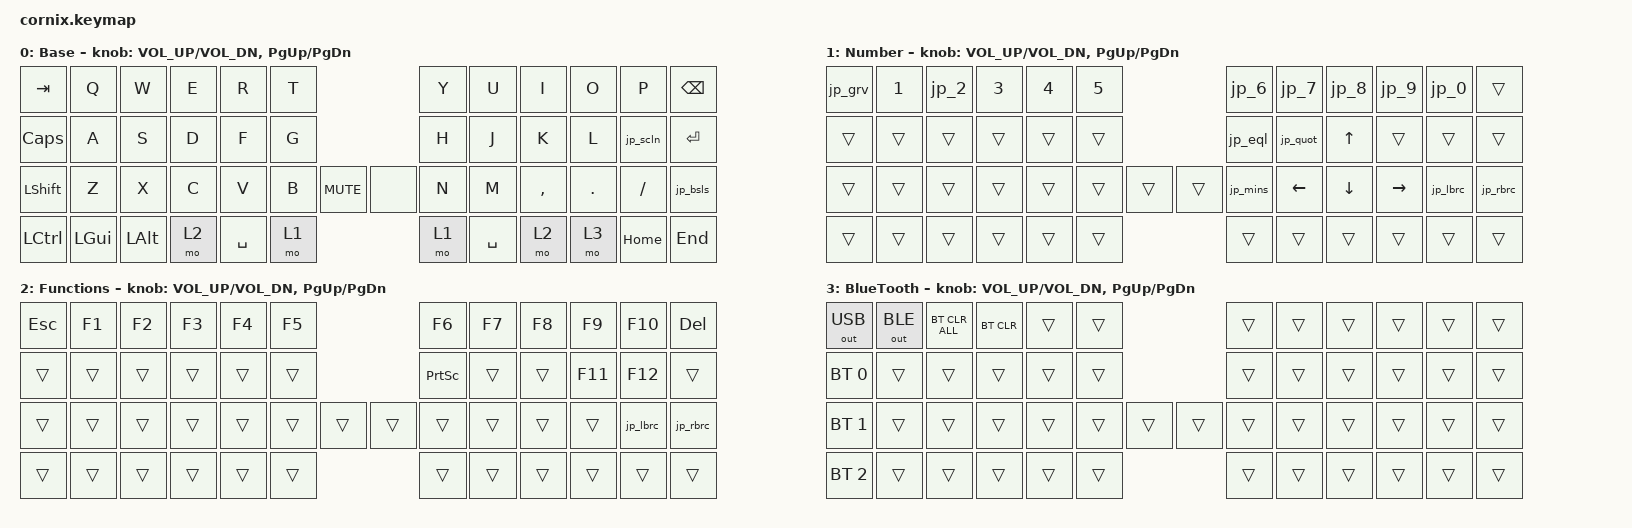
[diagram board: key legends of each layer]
/*
 * Copyright (c) 2020 The ZMK Contributors
 *
 * SPDX-License-Identifier: MIT
 */

#include "zmk-helpers/helper.h"
#include "includes/cornix54.h"
#include <behaviors.dtsi>
#include <dt-bindings/zmk/bt.h>
#include <dt-bindings/zmk/keys.h>
#include <dt-bindings/zmk/outputs.h>

// tap windows for ctl alt and gui

// quick tapping for shift
#define BASE 0
#define NUM 1
#define FUNC 2
#define BT 3

// https://github.com/urob/zmk-config/tree/main#timeless-homerow-mods

#include <behaviors.dtsi>
#include <dt-bindings/zmk/bt.h>
#include <dt-bindings/zmk/ext_power.h>
#include <dt-bindings/zmk/keys.h>
#include <dt-bindings/zmk/pointing.h>

// Add
#include <dt-bindings/zmk/keys.h>
#include <dt-bindings/zmk/modifiers.h>

#define JIS_MODS <(MOD_LSFT|MOD_RSFT)>

/ {
    // Activate ADJUST layer by pressing raise and lower

    behaviors {
        /* ` / ~   : JP_GRV = S(LBKT) , JP_TILD = S(EQUAL) */
        jp_grv: jp_grave_tilde {
            compatible = "zmk,behavior-mod-morph";
            #binding-cells = <0>;
            bindings = <&kp LS(LBKT)>, <&kp LS(EQUAL)>;
            mods = JIS_MODS;
        };

        /* 2 / @   : JP_AT = LBKT */
        jp_2: jp_2_at {
            compatible = "zmk,behavior-mod-morph";
            #binding-cells = <0>;
            bindings = <&kp N2>, <&kp LBKT>;
            mods = JIS_MODS;
        };

        /* 6 / ^   : JP_CIRC = EQUAL */
        jp_6: jp_6_circumflex {
            compatible = "zmk,behavior-mod-morph";
            #binding-cells = <0>;
            bindings = <&kp N6>, <&kp EQUAL>;
            mods = JIS_MODS;
        };

        /* 7 / &   : JP_AMPR = S(N6) */
        jp_7: jp_7_ampersand {
            compatible = "zmk,behavior-mod-morph";
            #binding-cells = <0>;
            bindings = <&kp N7>, <&kp LS(N6)>;
            mods = JIS_MODS;
        };

        /* 8 / *   : JP_ASTR = S(SQT) */
        jp_8: jp_8_asterisk {
            compatible = "zmk,behavior-mod-morph";
            #binding-cells = <0>;
            bindings = <&kp N8>, <&kp LS(SQT)>;
            mods = JIS_MODS;
        };

        /* 9 / (   : JP_LPRN = S(N8) */
        jp_9: jp_9_lparen {
            compatible = "zmk,behavior-mod-morph";
            #binding-cells = <0>;
            bindings = <&kp N9>, <&kp LS(N8)>;
            mods = JIS_MODS;
        };

        /* 0 / )   : JP_RPRN = S(N9) */
        jp_0: jp_0_rparen {
            compatible = "zmk,behavior-mod-morph";
            #binding-cells = <0>;
            bindings = <&kp N0>, <&kp LS(N9)>;
            mods = JIS_MODS;
        };

        /* - / _   : JP_MINS = MINUS , JP_UNDS = S(INT1) */
        jp_mins: jp_minus_underscore {
            compatible = "zmk,behavior-mod-morph";
            #binding-cells = <0>;
            bindings = <&kp MINUS>, <&kp LS(INT1)>;
            mods = JIS_MODS;
        };

        /* = / +   : JP_EQL = S(MINUS) , JP_PLUS = S(SEMI) */
        jp_eql: jp_equal_plus {
            compatible = "zmk,behavior-mod-morph";
            #binding-cells = <0>;
            bindings = <&kp LS(MINUS)>, <&kp LS(SEMI)>;
            mods = JIS_MODS;
        };

        /* [ / {   : JP_LBRC = RBKT , JP_LCBR = S(RBKT) */
        jp_lbrc: jp_lbracket_lbrace {
            compatible = "zmk,behavior-mod-morph";
            #binding-cells = <0>;
            bindings = <&kp RBKT>, <&kp LS(RBKT)>;
            mods = JIS_MODS;
        };

        /* ] / }   : JP_RBRC = NON_US_HASH , JP_RCBR = S(NON_US_HASH) */
        jp_rbrc: jp_rbracket_rbrace {
            compatible = "zmk,behavior-mod-morph";
            #binding-cells = <0>;
            bindings = <&kp NON_US_HASH>, <&kp LS(NON_US_HASH)>;
            mods = JIS_MODS;
        };

        /* \ / |   : JP_BSLS = INT1 (ro) , JP_PIPE = S(INT3) (yen) */
        jp_bsls: jp_backslash_pipe {
            compatible = "zmk,behavior-mod-morph";
            #binding-cells = <0>;
            bindings = <&kp INT1>, <&kp LS(INT3)>;
            mods = JIS_MODS;
        };

        /* ; / :   : JP_SCLN = SEMI , JP_COLN = SQT */
        jp_scln: jp_semicolon_colon {
            compatible = "zmk,behavior-mod-morph";
            #binding-cells = <0>;
            bindings = <&kp SEMI>, <&kp SQT>;
            mods = JIS_MODS;
        };

        /* ' / "   : JP_QUOT = S(N7) , JP_DQUO = S(N2) */
        jp_quot: jp_quote_dquote {
            compatible = "zmk,behavior-mod-morph";
            #binding-cells = <0>;
            bindings = <&kp LS(N7)>, <&kp LS(N2)>;
            mods = JIS_MODS;
        };
    };

    conditional_layers {
        compatible = "zmk,conditional-layers";

        bt_access {
            if-layers = <1 2>;      // NUM と FUNC が両方有効なら
            then-layer = <3>;       // BT レイヤーを有効化
        };
    };

    keymap {
        compatible = "zmk,keymap";

        default_layer {
            display-name = "Base";

            // -------------------------------------------------------------------------------------------------------------------------------
            // | TAB    | Q      | W      | E      | R      | T      |                 | Y      | U      | I      | O      | P      | BKSPC  |
            // | CAPS   | A      | S      | D      | F      | G      |        |        | H      | J      | K      | L      | ;      | ENTER  |
            // | SHIFT  | Z      | X      | C      | V      | B      | MUTE   |        | N      | M      | ,      | .      | /      | \      |
            // | CTRL   | WIN    | ALT    | MO(2)  | SPACE  | MO(1)  |        |        | MO(1)  | SPACE  | MO(2)  | MO(3)  | HOME   | END    |

            bindings = <
                &kp TAB    &kp Q     &kp W     &kp E  &kp R      &kp T                       &kp Y      &kp U      &kp I      &kp O     &kp P     &kp BSPC
                &kp CAPS   &kp A     &kp S     &kp D  &kp F      &kp G                       &kp H      &kp J      &kp K      &kp L     &jp_scln  &kp ENTER
                &kp LSHFT  &kp Z     &kp X     &kp C  &kp V      &kp B  &kp C_MUTE  &none    &kp N      &kp M      &kp COMMA  &kp DOT   &kp FSLH  &jp_bsls
                &kp LCTRL  &kp LGUI  &kp LALT  &mo 2  &kp SPACE  &mo 1                       &mo 1      &kp SPACE  &mo 2      &mo 3     &kp HOME  &kp END
            >;
            sensor-bindings = <&inc_dec_kp C_VOL_UP C_VOL_DN &inc_dec_kp PG_UP PG_DN>;
        };

        NUM_layer {
            display-name = "Number";

            // -------------------------------------------------------------------------------------------------------------------------------
            // | `      | 1      | 2      | 3      | 4      | 5      |                 | 6      | 7      | 8      | 9      | 0      |        |
            // |        |        |        |        |        |        |                 | =      | '      | ↑      |        |        |        |
            // |        |        |        |        |        |        |        |        | -      | ←      | ↓      | →      | [      |  ]     |
            // |        |        |        |        |        |        |                 |        |        |        |        |        |        |

            bindings = <
                &jp_grv    &kp N1  &jp_2   &kp N3  &kp N4  &kp N5                     &jp_6       &jp_7     &jp_8      &jp_9      &jp_0      &trans
                &trans     &trans  &trans  &trans  &trans  &trans                     &jp_eql     &jp_quot  &kp UP     &trans     &trans     &trans
                &trans     &trans  &trans  &trans  &trans  &trans  &trans   &trans    &jp_mins    &kp LEFT  &kp DOWN   &kp RIGHT  &jp_lbrc   &jp_rbrc
                &trans     &trans  &trans  &trans  &trans  &trans                     &trans      &trans    &trans     &trans     &trans     &trans
            >;
            sensor-bindings = <&inc_dec_kp C_VOL_UP C_VOL_DN &inc_dec_kp PG_UP PG_DN>;
        };

        Func_layer {
            display-name = "Functions";

            // -----------------------------------------------------------------------------------------------------------------
            // | ESC    | F1     | F2     | F3     | F4     | F5     |                 | F6     | F7     | F8     | F9     | F10    | &kp DEL |
            // |        |        |        |        |        |        |                 | PSCRN  |        |        | F11    | F12    |         |
            // |        |        |        |        |        |        |        |        |        |        |        |        | [      | ]       |
            // |        |        |        |        |        |        |                 |        |        |        |        |        |         |

            bindings = <
                &kp ESC  &kp F1  &kp F2  &kp F3  &kp F4  &kp F5                    &kp F6     &kp F7  &kp F8  &kp F9  &kp F10  &kp DEL
                &trans   &trans  &trans  &trans  &trans  &trans                    &kp PSCRN  &trans  &trans  &kp F11 &kp F12  &trans    
                &trans   &trans  &trans  &trans  &trans  &trans  &trans  &trans    &trans     &trans  &trans  &trans  &jp_lbrc &jp_rbrc
                &trans   &trans  &trans  &trans  &trans  &trans                    &trans     &trans  &trans  &trans  &trans   &trans
            >;
            sensor-bindings = <&inc_dec_kp C_VOL_UP C_VOL_DN &inc_dec_kp PG_UP PG_DN>;
        };

        BT_layer {
            display-name = "BlueTooth";

            // -------------------------------------------------------------------------------------------------------------------------------
            // | BT(CLR)| BT(USB)| BT(BLE)|        |        |        |        |        |        |        |        |        |        |        |
            // | BT(0)  |        |        |        |        |        |        |        |        |        |        |        |        |        |
            // | BT(1)  |        |        |        |        |        |        |        |        |        |        |        |        |        |
            // | BT(2)  |        |        |        |        |        |        |        |        |        |        |        |        |        |

            bindings = <
                &out OUT_USB   &out OUT_BLE  &bt BT_CLR_ALL  &bt BT_CLR &trans  &trans                    &trans  &trans  &trans  &trans  &trans  &trans
                &bt BT_SEL 0   &trans        &trans          &trans     &trans  &trans                    &trans  &trans  &trans  &trans  &trans  &trans
                &bt BT_SEL 1   &trans        &trans          &trans     &trans  &trans  &trans  &trans    &trans  &trans  &trans  &trans  &trans  &trans
                &bt BT_SEL 2   &trans        &trans          &trans     &trans  &trans                    &trans  &trans  &trans  &trans  &trans  &trans
            >;
            sensor-bindings = <&inc_dec_kp C_VOL_UP C_VOL_DN &inc_dec_kp PG_UP PG_DN>;
        };
    };
};
